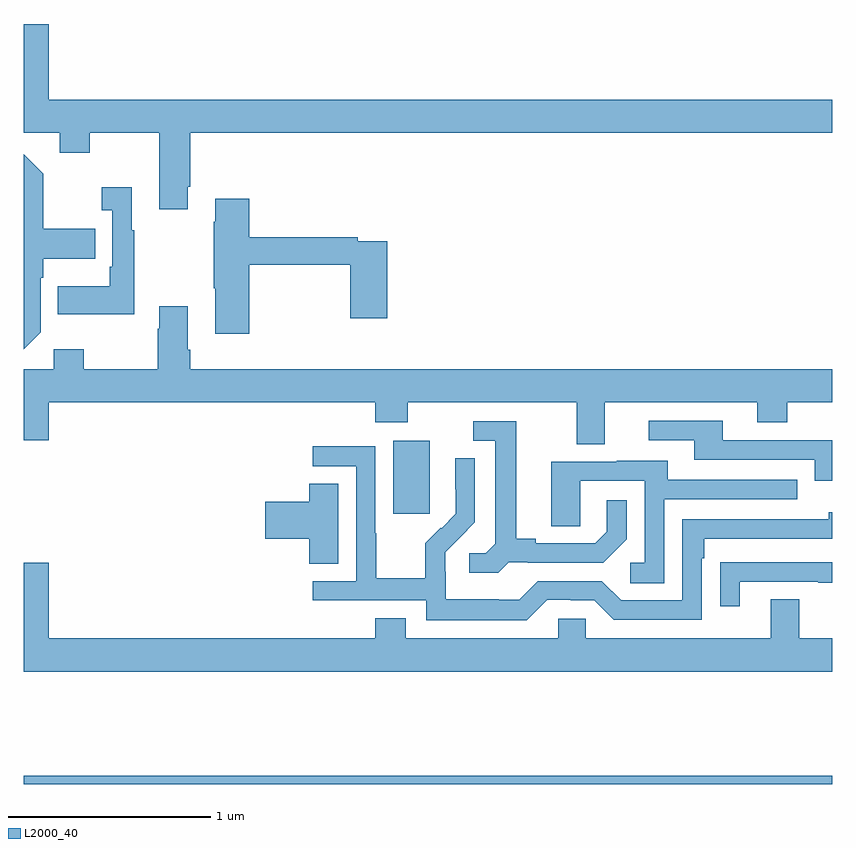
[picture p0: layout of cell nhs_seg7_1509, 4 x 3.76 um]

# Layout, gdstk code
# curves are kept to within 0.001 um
import gdstk
lib = gdstk.Library(unit=1e-6, precision=1e-09)
def R(c, l, rs):  # rectangles x0, y0, x1, y1
    for r in rs: c.add(gdstk.rectangle(r[:2], r[2:], *l))
def P(c, l, *ps):  # polygons
    for p in ps: c.add(gdstk.Polygon(p, *l))
L2000_40 = (2000, 40)

nhs_seg7_1509 = lib.new_cell('nhs_seg7_1509')
R(nhs_seg7_1509, L2000_40, [(213,1060,217,1060.04), (214.829,1061.337,215.008,1061.698)])
P(nhs_seg7_1509, L2000_40, [(213.811,1062.955),(213.824,1062.955),(213.824,1063.22),(217,1063.22),(217,1063.384),(213.124,1063.384),(213.124,1063.759),(213,1063.759),(213,1063.22),(213.179,1063.22),(213.179,1063.121),(213.327,1063.121),(213.327,1063.22),(213.671,1063.22),(213.671,1062.843),(213.811,1062.843)],
  [(213.084,1062.234),(213.084,1062.503),(213.097,1062.503),(213.097,1062.599),(213.353,1062.599),(213.353,1062.747),(213.097,1062.747),(213.097,1063.019),(213,1063.116),(213,1062.15)],
  [(213.547,1062.739),(213.535,1062.739),(213.535,1062.952),(213.387,1062.952),(213.387,1062.839),(213.438,1062.839),(213.438,1062.559),(213.426,1062.559),(213.426,1062.463),(213.169,1062.463),(213.169,1062.323),(213.547,1062.323)],
  [(214.115,1062.568),(214.616,1062.568),(214.616,1062.303),(214.799,1062.303),(214.799,1062.684),(214.652,1062.684),(214.652,1062.704),(214.115,1062.704),(214.115,1062.895),(213.947,1062.895),(213.947,1062.782),(213.94,1062.782),(213.94,1062.451),(213.947,1062.451),(213.947,1062.228),(214.115,1062.228)],
  [(215.875,1061.888),(216.629,1061.888),(216.629,1061.789),(216.777,1061.789),(216.777,1061.888),(217,1061.888),(217,1062.052),(213.824,1062.052),(213.824,1062.148),(213.811,1062.148),(213.811,1062.364),(213.671,1062.364),(213.671,1062.251),(213.664,1062.251),(213.664,1062.052),(213.297,1062.052),(213.297,1062.151),(213.15,1062.151),(213.15,1062.052),(213,1062.052),(213,1061.7),(213.124,1061.7),(213.124,1061.888),(214.739,1061.888),(214.739,1061.789),(214.899,1061.789),(214.899,1061.888),(215.735,1061.888),(215.735,1061.68),(215.875,1061.68)],
  [(217,1061.7),(216.457,1061.7),(216.457,1061.796),(216.093,1061.796),(216.093,1061.7),(216.317,1061.7),(216.317,1061.604),(216.912,1061.604),(216.912,1061.501),(217,1061.501)],
  [(215.4,1061.097),(215.494,1061.097),(215.494,1061.094),(215.866,1061.094),(215.982,1061.21),(215.982,1061.404),(215.885,1061.404),(215.885,1061.247),(215.828,1061.19),(215.533,1061.19),(215.533,1061.213),(215.437,1061.213),(215.437,1061.793),(215.223,1061.793),(215.223,1061.697),(215.333,1061.697),(215.333,1061.189),(215.286,1061.142),(215.205,1061.142),(215.205,1061.045),(215.348,1061.045)],
  [(215.589,1060.911),(215.705,1060.911),(215.705,1060.908),(215.823,1060.908),(215.919,1060.812),(216.354,1060.812),(216.354,1061.117),(216.367,1061.117),(216.367,1061.214),(217,1061.214),(217,1061.344),(216.983,1061.344),(216.983,1061.31),(216.258,1061.31),(216.258,1060.908),(215.955,1060.908),(215.859,1061.004),(215.544,1061.004),(215.451,1060.911),(215.351,1060.911),(215.351,1060.915),(215.088,1060.915),(215.088,1061.049),(215.086,1061.049),(215.086,1061.146),(215.232,1061.294),(215.232,1061.612),(215.136,1061.612),(215.136,1061.458),(215.138,1061.458),(215.138,1061.336),(215.067,1061.265),(215.064,1061.268),(214.987,1061.191),(214.987,1061.017),(214.743,1061.017),(214.743,1061.24),(214.74,1061.24),(214.74,1061.67),(214.431,1061.67),(214.431,1061.571),(214.644,1061.571),(214.644,1061.004),(214.431,1061.004),(214.431,1060.908),(214.992,1060.908),(214.992,1060.811),(215.489,1060.811)],
  [(216.168,1061.409),(216.827,1061.409),(216.827,1061.505),(216.187,1061.505),(216.187,1061.599),(215.933,1061.599),(215.933,1061.595),(215.609,1061.595),(215.609,1061.275),(215.754,1061.275),(215.754,1061.499),(216.072,1061.499),(216.072,1061.094),(216,1061.094),(216,1060.993),(216.168,1060.993)],
  [(214.555,1061.486),(214.412,1061.486),(214.412,1061.396),(214.194,1061.396),(214.194,1061.213),(214.412,1061.213),(214.412,1061.089),(214.555,1061.089)],
  [(216.541,1061.001),(216.931,1061.001),(216.931,1060.996),(217,1060.996),(217,1061.097),(216.547,1061.097),(216.547,1061.096),(216.445,1061.096),(216.445,1060.878),(216.541,1060.878)],
  [(217,1060.72),(216.835,1060.72),(216.835,1060.915),(216.695,1060.915),(216.695,1060.72),(215.781,1060.72),(215.781,1060.818),(215.643,1060.818),(215.643,1060.72),(214.891,1060.72),(214.891,1060.819),(214.739,1060.819),(214.739,1060.72),(213.124,1060.72),(213.124,1061.095),(213,1061.095),(213,1060.556),(217,1060.556)])

lib.write_gds('nhs_seg7_1509.gds')
